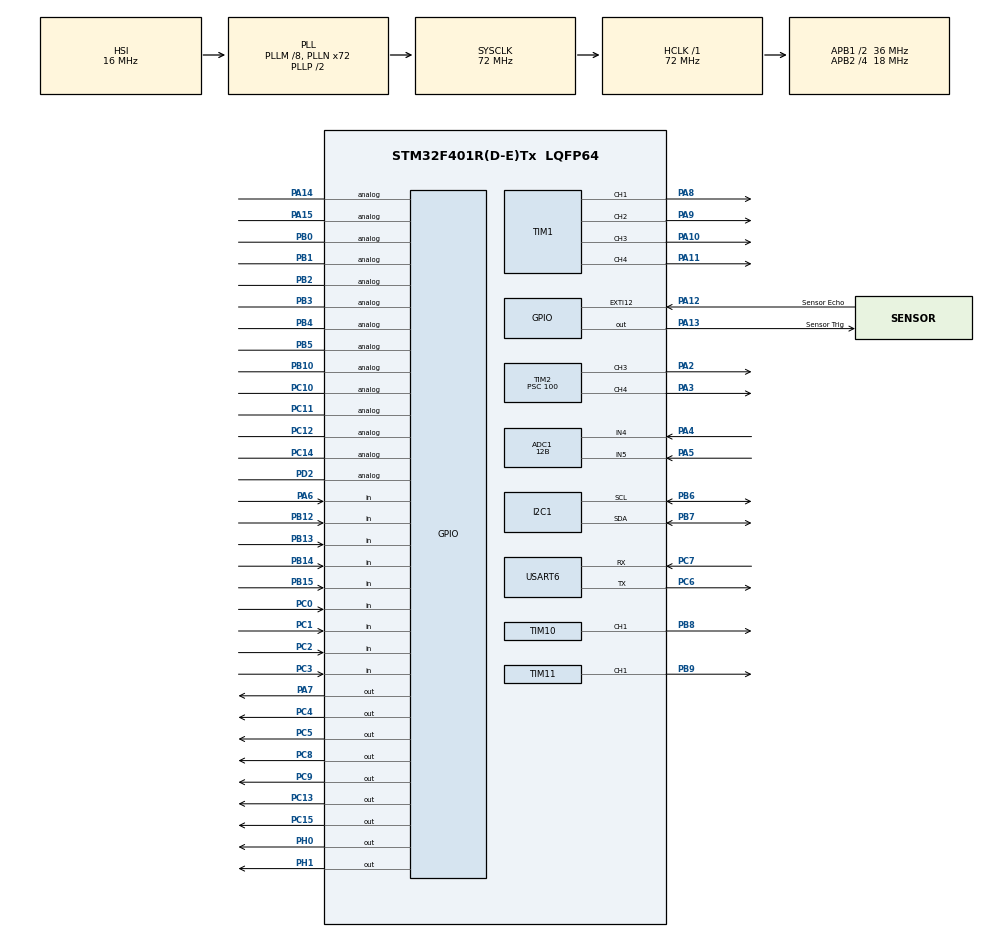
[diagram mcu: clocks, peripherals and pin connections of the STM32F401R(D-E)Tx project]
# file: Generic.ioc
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ADC1.Channel-0\#ChannelRegularConversion=ADC_CHANNEL_4
ADC1.ClockPrescaler=ADC_CLOCK_SYNC_PCLK_DIV4
ADC1.ContinuousConvMode=ENABLE
ADC1.EOCSelection=ADC_EOC_SEQ_CONV
ADC1.NbrOfConversionFlag=1
ADC1.Rank-0\#ChannelRegularConversion=1
ADC1.Resolution=ADC_RESOLUTION_12B
ADC1.SamplingTime-0\#ChannelRegularConversion=ADC_SAMPLETIME_3CYCLES
ADC1.master=1
Mcu.Family=STM32F4
Mcu.Name=STM32F401R(D-E)Tx
Mcu.Package=LQFP64
NVIC.EXTI15_10_IRQn=true\:0\:0\:true\:false\:true\:true
NVIC.PriorityGroup=NVIC_PRIORITYGROUP_4
PA10.GPIO_Speed=GPIO_SPEED_FREQ_HIGH
PA10.Signal=S_TIM1_CH3
PA11.GPIO_ModeDefaultPP=GPIO_MODE_AF_PP
PA11.GPIO_PuPd=GPIO_NOPULL
PA11.GPIO_Speed=GPIO_SPEED_FREQ_HIGH
PA11.Signal=S_TIM1_CH4
PA12.GPIO_Label=Sensor Echo
PA12.GPIO_ModeDefaultEXTI=GPIO_MODE_IT_RISING_FALLING
PA12.Signal=GPXTI12
PA13.GPIO_Label=Sensor Trig
PA13.GPIO_ModeDefaultOutputPP=GPIO_MODE_OUTPUT_OD
PA13.GPIO_Speed=GPIO_SPEED_FREQ_LOW
PA13.PinState=GPIO_PIN_SET
PA13.Signal=GPIO_Output
PA14.GPIO_PuPd=GPIO_NOPULL
PA14.Signal=GPIO_Analog
PA15.GPIO_PuPd=GPIO_NOPULL
PA15.Signal=GPIO_Analog
PA2.GPIO_Speed=GPIO_SPEED_FREQ_HIGH
PA2.Signal=S_TIM2_CH3
PA3.GPIO_Speed=GPIO_SPEED_FREQ_HIGH
PA3.Signal=S_TIM2_CH4
PA4.Signal=ADCx_IN4
PA5.Signal=ADCx_IN5
PA6.GPIO_Mode=GPIO_MODE_INPUT
PA6.GPIO_PuPd=GPIO_NOPULL
PA6.Signal=GPIO_Input
PA7.GPIO_Speed=GPIO_SPEED_FREQ_LOW
PA7.PinState=GPIO_PIN_RESET
PA7.Signal=GPIO_Output
PA8.GPIO_PuPd=GPIO_NOPULL
PA8.GPIO_Speed=GPIO_SPEED_FREQ_HIGH
PA8.Signal=S_TIM1_CH1
PA9.GPIO_Speed=GPIO_SPEED_FREQ_HIGH
PA9.Signal=S_TIM1_CH2
PB0.GPIO_PuPd=GPIO_NOPULL
PB0.Signal=GPIO_Analog
PB1.GPIO_PuPd=GPIO_NOPULL
PB1.Signal=GPIO_Analog
PB10.GPIO_PuPd=GPIO_NOPULL
PB10.Signal=GPIO_Analog
PB12.GPIO_PuPd=GPIO_NOPULL
PB12.Signal=GPIO_Input
PB13.GPIO_PuPd=GPIO_NOPULL
PB13.Signal=GPIO_Input
PB14.GPIO_PuPd=GPIO_NOPULL
PB14.Signal=GPIO_Input
PB15.GPIO_PuPd=GPIO_NOPULL
PB15.Signal=GPIO_Input
PB2.GPIO_PuPd=GPIO_NOPULL
PB2.Signal=GPIO_Analog
PB3.GPIO_PuPd=GPIO_NOPULL
PB3.Signal=GPIO_Analog
PB4.GPIO_PuPd=GPIO_NOPULL
PB4.Signal=GPIO_Analog
PB5.GPIO_PuPd=GPIO_NOPULL
PB5.Signal=GPIO_Analog
PB6.Mode=I2C
PB6.Signal=I2C1_SCL
PB7.Mode=I2C
PB7.Signal=I2C1_SDA
PB8.GPIO_Speed=GPIO_SPEED_FREQ_LOW
PB8.Signal=S_TIM10_CH1
PB9.GPIO_Speed=GPIO_SPEED_FREQ_HIGH
PB9.Signal=S_TIM11_CH1
PC0.GPIO_PuPd=GPIO_NOPULL
PC0.Signal=GPIO_Input
PC1.GPIO_PuPd=GPIO_NOPULL
PC1.Signal=GPIO_Input
PC10.GPIO_PuPd=GPIO_NOPULL
PC10.Signal=GPIO_Analog
PC11.GPIO_Mode=GPIO_MODE_ANALOG
PC11.GPIO_PuPd=GPIO_NOPULL
PC11.Signal=GPIO_Analog
PC12.GPIO_PuPd=GPIO_NOPULL
PC12.Signal=GPIO_Analog
PC13-ANTI_TAMP.GPIO_ModeDefaultOutputPP=GPIO_MODE_OUTPUT_PP
PC13-ANTI_TAMP.GPIO_PuPd=GPIO_NOPULL
PC13-ANTI_TAMP.GPIO_Speed=GPIO_SPEED_FREQ_LOW
PC13-ANTI_TAMP.PinState=GPIO_PIN_RESET
PC13-ANTI_TAMP.Signal=GPIO_Output
PC14-OSC32_IN.GPIO_PuPd=GPIO_NOPULL
PC14-OSC32_IN.Signal=GPIO_Analog
PC15-OSC32_OUT.GPIO_Speed=GPIO_SPEED_FREQ_LOW
PC15-OSC32_OUT.PinState=GPIO_PIN_RESET
PC15-OSC32_OUT.Signal=GPIO_Output
PC2.GPIO_PuPd=GPIO_NOPULL
PC2.Signal=GPIO_Input
PC3.GPIO_PuPd=GPIO_NOPULL
PC3.Signal=GPIO_Input
PC4.GPIO_Speed=GPIO_SPEED_FREQ_LOW
PC4.PinState=GPIO_PIN_RESET
PC4.Signal=GPIO_Output
PC5.GPIO_Speed=GPIO_SPEED_FREQ_LOW
PC5.PinState=GPIO_PIN_RESET
PC5.Signal=GPIO_Output
PC6.Mode=Asynchronous
PC6.Signal=USART6_TX
PC7.Mode=Asynchronous
PC7.Signal=USART6_RX
PC8.GPIO_Speed=GPIO_SPEED_FREQ_LOW
PC8.PinState=GPIO_PIN_RESET
PC8.Signal=GPIO_Output
PC9.GPIO_Speed=GPIO_SPEED_FREQ_LOW
PC9.PinState=GPIO_PIN_RESET
PC9.Signal=GPIO_Output
PD2.GPIO_PuPd=GPIO_NOPULL
PD2.Signal=GPIO_Analog
PH0\ -\ OSC_IN.GPIO_Speed=GPIO_SPEED_FREQ_LOW
PH0\ -\ OSC_IN.PinState=GPIO_PIN_RESET
PH0\ -\ OSC_IN.Signal=GPIO_Output
PH1\ -\ OSC_OUT.GPIO_Speed=GPIO_SPEED_FREQ_LOW
PH1\ -\ OSC_OUT.PinState=GPIO_PIN_RESET
PH1\ -\ OSC_OUT.Signal=GPIO_Output
ProjectManager.HeapSize=0x200
ProjectManager.StackSize=0x400
ProjectManager.TargetToolchain=Makefile
RCC.48MHZClocksFreq_Value=36000000
RCC.AHBFreq_Value=72000000
RCC.APB1CLKDivider=RCC_HCLK_DIV2
RCC.APB1Freq_Value=36000000
RCC.APB1TimFreq_Value=72000000
RCC.APB2CLKDivider=RCC_HCLK_DIV4
RCC.APB2Freq_Value=18000000
RCC.APB2TimFreq_Value=36000000
RCC.CortexFreq_Value=72000000
RCC.HCLKFreq_Value=72000000
RCC.HSE_VALUE=25000000
RCC.HSI_VALUE=16000000
RCC.LSE_VALUE=32768
RCC.PLLM=8
RCC.PLLN=72
RCC.SYSCLKFreq_VALUE=72000000
RCC.SYSCLKSource=RCC_SYSCLKSOURCE_PLLCLK
RCC.VCOOutputFreq_Value=144000000
SH.ADCx_IN4.0=ADC1_IN4,IN4
SH.ADCx_IN5.0=ADC1_IN5,IN5
SH.S_TIM10_CH1.0=TIM10_CH1,PWM Generation1 CH1
SH.S_TIM11_CH1.0=TIM11_CH1,PWM Generation1 CH1
SH.S_TIM1_CH1.0=TIM1_CH1,PWM Generation1 CH1
SH.S_TIM1_CH2.0=TIM1_CH2,PWM Generation2 CH2
SH.S_TIM1_CH3.0=TIM1_CH3,PWM Generation3 CH3
SH.S_TIM1_CH4.0=TIM1_CH4,PWM Generation4 CH4
SH.S_TIM2_CH3.0=TIM2_CH3,Output Compare3 CH3
SH.S_TIM2_CH4.0=TIM2_CH4,Output Compare4 CH4
TIM1.Channel-PWM\ Generation1\ CH1=TIM_CHANNEL_1
TIM1.Channel-PWM\ Generation2\ CH2=TIM_CHANNEL_2
TIM1.Channel-PWM\ Generation3\ CH3=TIM_CHANNEL_3
TIM1.Channel-PWM\ Generation4\ CH4=TIM_CHANNEL_4
TIM10.Channel=TIM_CHANNEL_1
TIM11.Channel=TIM_CHANNEL_1
TIM2.Channel-Output\ Compare1\ No\ Output=TIM_CHANNEL_1
TIM2.Channel-Output\ Compare2\ No\ Output=TIM_CHANNEL_2
TIM2.Channel-Output\ Compare3\ CH3=TIM_CHANNEL_3
TIM2.Channel-Output\ Compare4\ CH4=TIM_CHANNEL_4
TIM2.Period=4294967295
TIM2.Prescaler=100
USART6.VirtualMode=VM_ASYNC
VP_TIM10_VS_ClockSourceINT.Mode=Enable_Timer
VP_TIM11_VS_ClockSourceINT.Mode=Enable_Timer
VP_TIM1_VS_ClockSourceINT.Mode=Internal
VP_TIM2_VS_ClockSourceINT.Mode=Internal
VP_TIM2_VS_no_output1.Mode=Output Compare1 No Output
VP_TIM2_VS_no_output2.Mode=Output Compare2 No Output
VP_TIM3_VS_ClockSourceINT.Mode=Internal
board=custom

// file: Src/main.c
/**
  ******************************************************************************
  * @file           : main.c
  * @brief          : Main program body
  ******************************************************************************
  ** This notice applies to any and all portions of this file
  * that are not between comment pairs USER CODE BEGIN and
  * USER CODE END. Other portions of this file, whether
  * inserted by the user or by software development tools
  * are owned by their respective copyright owners.
  *
  * COPYRIGHT(c) 2018 STMicroelectronics
  *
  * Redistribution and use in source and binary forms, with or without modification,
  * are permitted provided that the following conditions are met:
  *   1. Redistributions of source code must retain the above copyright notice,
  *      this list of conditions and the following disclaimer.
  *   2. Redistributions in binary form must reproduce the above copyright notice,
  *      this list of conditions and the following disclaimer in the documentation
  *      and/or other materials provided with the distribution.
  *   3. Neither the name of STMicroelectronics nor the names of its contributors
  *      may be used to endorse or promote products derived from this software
  *      without specific prior written permission.
  *
  * THIS SOFTWARE IS PROVIDED BY THE COPYRIGHT HOLDERS AND CONTRIBUTORS "AS IS"
  * AND ANY EXPRESS OR IMPLIED WARRANTIES, INCLUDING, BUT NOT LIMITED TO, THE
  * IMPLIED WARRANTIES OF MERCHANTABILITY AND FITNESS FOR A PARTICULAR PURPOSE ARE
  * DISCLAIMED. IN NO EVENT SHALL THE COPYRIGHT HOLDER OR CONTRIBUTORS BE LIABLE
  * FOR ANY DIRECT, INDIRECT, INCIDENTAL, SPECIAL, EXEMPLARY, OR CONSEQUENTIAL
  * DAMAGES (INCLUDING, BUT NOT LIMITED TO, PROCUREMENT OF SUBSTITUTE GOODS OR
  * SERVICES; LOSS OF USE, DATA, OR PROFITS; OR BUSINESS INTERRUPTION) HOWEVER
  * CAUSED AND ON ANY THEORY OF LIABILITY, WHETHER IN CONTRACT, STRICT LIABILITY,
  * OR TORT (INCLUDING NEGLIGENCE OR OTHERWISE) ARISING IN ANY WAY OUT OF THE USE
  * OF THIS SOFTWARE, EVEN IF ADVISED OF THE POSSIBILITY OF SUCH DAMAGE.
  *
  ******************************************************************************
  */
#include "main.h"
#include "stm32f4xx_hal.h"
#include "stm32f4xx_it.h"

/* USER CODE BEGIN Includes */
#include "fonts.h"
#include "ssd1306.h"
/* USER CODE END Includes */

ADC_HandleTypeDef hadc1;

I2C_HandleTypeDef hi2c1;

TIM_HandleTypeDef htim1;
TIM_HandleTypeDef htim2;
TIM_HandleTypeDef htim3;
TIM_HandleTypeDef htim10;
TIM_HandleTypeDef htim11;

UART_HandleTypeDef huart6;

void SystemClock_Config(void);
static void MX_GPIO_Init(void);
static void MX_I2C1_Init(void);
static void MX_TIM1_Init(void);
static void MX_TIM2_Init(void);
static void MX_TIM3_Init(void);
static void MX_TIM10_Init(void);
static void MX_TIM11_Init(void);
static void MX_USART6_UART_Init(void);
static void MX_ADC1_Init(void);

void HAL_TIM_MspPostInit(TIM_HandleTypeDef *htim);

/* USER CODE BEGIN 0 */
uint32_t getUs(void)
{
  uint32_t usTicks = HAL_RCC_GetSysClockFreq() / 1000000;
  register uint32_t ms, cycle_cnt;
  do
  {
    ms = HAL_GetTick();
    cycle_cnt = SysTick->VAL;
  } while (ms != HAL_GetTick());
  return (ms * 1000) + (usTicks * 1000 - cycle_cnt) / usTicks;
}

void delayUs(uint16_t micros)
{
  uint32_t start = getUs();
  while (getUs() - start < (uint32_t)micros)
  {
    asm("nop");
  }
}
/* USER CODE END 0 */

int main(void)
{

  /* MCU Configuration----------------------------------------------------------*/

  /* Reset of all peripherals, Initializes the Flash interface and the Systick. */
  HAL_Init();

  /* Configure the system clock */
  SystemClock_Config();

  /* Initialize all configured peripherals */
  MX_GPIO_Init();
  MX_I2C1_Init();
  MX_TIM1_Init();
  MX_TIM2_Init();
  MX_TIM3_Init();
  MX_TIM10_Init();
  MX_TIM11_Init();
  MX_USART6_UART_Init();
  MX_ADC1_Init();
  /* USER CODE BEGIN 2 */
  ssd1306_Init();
  HAL_Delay(1000);
  ssd1306_Fill(Black);
  ssd1306_WriteString("Hola Boyo", Font_11x18, White);
  ssd1306_UpdateScreen();
  HAL_GPIO_WritePin(GPIOA, GPIO_PIN_13, GPIO_PIN_RESET);
  /* USER CODE END 2 */

  /* Infinite loop */
  /* USER CODE BEGIN WHILE */
  char *adc = (char *)malloc(13 * sizeof(char));

  while (1)
  {
    HAL_GPIO_TogglePin(GPIOA, GPIO_PIN_13);
    delayUs(15); //delay 15ms
    HAL_GPIO_TogglePin(GPIOA, GPIO_PIN_13);
    HAL_Delay(60);
    ssd1306_SetCursor(0, 0);
    sprintf(adc, "val: %d    ", (int)sonarVal);
    ssd1306_WriteString(adc, Font_11x18, White);
    ssd1306_UpdateScreen();
  }
  /* USER CODE END WHILE */

}

void SystemClock_Config(void)
{

  RCC_OscInitTypeDef RCC_OscInitStruct;
  RCC_ClkInitTypeDef RCC_ClkInitStruct;

    /**Configure the main internal regulator output voltage
    */
  __HAL_RCC_PWR_CLK_ENABLE();

  __HAL_PWR_VOLTAGESCALING_CONFIG(PWR_REGULATOR_VOLTAGE_SCALE2);

    /**Initializes the CPU, AHB and APB busses clocks
    */
  RCC_OscInitStruct.OscillatorType = RCC_OSCILLATORTYPE_HSI;
  RCC_OscInitStruct.HSIState = RCC_HSI_ON;
  RCC_OscInitStruct.HSICalibrationValue = 16;
  RCC_OscInitStruct.PLL.PLLState = RCC_PLL_ON;
  RCC_OscInitStruct.PLL.PLLSource = RCC_PLLSOURCE_HSI;
  RCC_OscInitStruct.PLL.PLLM = 8;
  RCC_OscInitStruct.PLL.PLLN = 72;
  RCC_OscInitStruct.PLL.PLLP = RCC_PLLP_DIV2;
  RCC_OscInitStruct.PLL.PLLQ = 4;
  if (HAL_RCC_OscConfig(&RCC_OscInitStruct) != HAL_OK)
  {
    _Error_Handler(__FILE__, __LINE__);
  }

    /**Initializes the CPU, AHB and APB busses clocks
    */
  RCC_ClkInitStruct.ClockType = RCC_CLOCKTYPE_HCLK|RCC_CLOCKTYPE_SYSCLK
                              |RCC_CLOCKTYPE_PCLK1|RCC_CLOCKTYPE_PCLK2;
  RCC_ClkInitStruct.SYSCLKSource = RCC_SYSCLKSOURCE_PLLCLK;
  RCC_ClkInitStruct.AHBCLKDivider = RCC_SYSCLK_DIV1;
  RCC_ClkInitStruct.APB1CLKDivider = RCC_HCLK_DIV2;
  RCC_ClkInitStruct.APB2CLKDivider = RCC_HCLK_DIV4;

  if (HAL_RCC_ClockConfig(&RCC_ClkInitStruct, FLASH_LATENCY_2) != HAL_OK)
  {
    _Error_Handler(__FILE__, __LINE__);
  }

    /**Configure the Systick interrupt time
    */
  HAL_SYSTICK_Config(HAL_RCC_GetHCLKFreq()/1000);

    /**Configure the Systick
    */
  HAL_SYSTICK_CLKSourceConfig(SYSTICK_CLKSOURCE_HCLK);

  /* SysTick_IRQn interrupt configuration */
  HAL_NVIC_SetPriority(SysTick_IRQn, 0, 0);
}

/* ADC1 init function */
static void MX_ADC1_Init(void)
{

  ADC_ChannelConfTypeDef sConfig;

    /**Configure the global features of the ADC (Clock, Resolution, Data Alignment and number of conversion)
    */
  hadc1.Instance = ADC1;
  hadc1.Init.ClockPrescaler = ADC_CLOCK_SYNC_PCLK_DIV4;
  hadc1.Init.Resolution = ADC_RESOLUTION_12B;
  hadc1.Init.ScanConvMode = DISABLE;
  hadc1.Init.ContinuousConvMode = ENABLE;
  hadc1.Init.DiscontinuousConvMode = DISABLE;
  hadc1.Init.ExternalTrigConvEdge = ADC_EXTERNALTRIGCONVEDGE_NONE;
  hadc1.Init.ExternalTrigConv = ADC_SOFTWARE_START;
  hadc1.Init.DataAlign = ADC_DATAALIGN_RIGHT;
  hadc1.Init.NbrOfConversion = 1;
  hadc1.Init.DMAContinuousRequests = DISABLE;
  hadc1.Init.EOCSelection = ADC_EOC_SEQ_CONV;
  if (HAL_ADC_Init(&hadc1) != HAL_OK)
  {
    _Error_Handler(__FILE__, __LINE__);
  }

    /**Configure for the selected ADC regular channel its corresponding rank in the sequencer and its sample time.
    */
  sConfig.Channel = ADC_CHANNEL_4;
  sConfig.Rank = 1;
  sConfig.SamplingTime = ADC_SAMPLETIME_3CYCLES;
  if (HAL_ADC_ConfigChannel(&hadc1, &sConfig) != HAL_OK)
  {
    _Error_Handler(__FILE__, __LINE__);
  }

}

/* I2C1 init function */
static void MX_I2C1_Init(void)
{

  hi2c1.Instance = I2C1;
  hi2c1.Init.ClockSpeed = 100000;
  hi2c1.Init.DutyCycle = I2C_DUTYCYCLE_2;
  hi2c1.Init.OwnAddress1 = 0;
  hi2c1.Init.AddressingMode = I2C_ADDRESSINGMODE_7BIT;
  hi2c1.Init.DualAddressMode = I2C_DUALADDRESS_DISABLE;
  hi2c1.Init.OwnAddress2 = 0;
  hi2c1.Init.GeneralCallMode = I2C_GENERALCALL_DISABLE;
  hi2c1.Init.NoStretchMode = I2C_NOSTRETCH_DISABLE;
  if (HAL_I2C_Init(&hi2c1) != HAL_OK)
  {
    _Error_Handler(__FILE__, __LINE__);
  }

}

/* TIM1 init function */
static void MX_TIM1_Init(void)
{

  TIM_ClockConfigTypeDef sClockSourceConfig;
  TIM_MasterConfigTypeDef sMasterConfig;
  TIM_OC_InitTypeDef sConfigOC;
  TIM_BreakDeadTimeConfigTypeDef sBreakDeadTimeConfig;

  htim1.Instance = TIM1;
  htim1.Init.Prescaler = 0;
  htim1.Init.CounterMode = TIM_COUNTERMODE_UP;
  htim1.Init.Period = 0;
  htim1.Init.ClockDivision = TIM_CLOCKDIVISION_DIV1;
  htim1.Init.RepetitionCounter = 0;
  if (HAL_TIM_Base_Init(&htim1) != HAL_OK)
  {
    _Error_Handler(__FILE__, __LINE__);
  }

  sClockSourceConfig.ClockSource = TIM_CLOCKSOURCE_INTERNAL;
  if (HAL_TIM_ConfigClockSource(&htim1, &sClockSourceConfig) != HAL_OK)
  {
    _Error_Handler(__FILE__, __LINE__);
  }

  if (HAL_TIM_PWM_Init(&htim1) != HAL_OK)
  {
    _Error_Handler(__FILE__, __LINE__);
  }

  sMasterConfig.MasterOutputTrigger = TIM_TRGO_RESET;
  sMasterConfig.MasterSlaveMode = TIM_MASTERSLAVEMODE_DISABLE;
  if (HAL_TIMEx_MasterConfigSynchronization(&htim1, &sMasterConfig) != HAL_OK)
  {
    _Error_Handler(__FILE__, __LINE__);
  }

  sConfigOC.OCMode = TIM_OCMODE_PWM1;
  sConfigOC.Pulse = 0;
  sConfigOC.OCPolarity = TIM_OCPOLARITY_HIGH;
  sConfigOC.OCNPolarity = TIM_OCNPOLARITY_HIGH;
  sConfigOC.OCFastMode = TIM_OCFAST_DISABLE;
  sConfigOC.OCIdleState = TIM_OCIDLESTATE_RESET;
  sConfigOC.OCNIdleState = TIM_OCNIDLESTATE_RESET;
  if (HAL_TIM_PWM_ConfigChannel(&htim1, &sConfigOC, TIM_CHANNEL_1) != HAL_OK)
  {
    _Error_Handler(__FILE__, __LINE__);
  }

  if (HAL_TIM_PWM_ConfigChannel(&htim1, &sConfigOC, TIM_CHANNEL_2) != HAL_OK)
  {
    _Error_Handler(__FILE__, __LINE__);
  }

  if (HAL_TIM_PWM_ConfigChannel(&htim1, &sConfigOC, TIM_CHANNEL_3) != HAL_OK)
  {
    _Error_Handler(__FILE__, __LINE__);
  }

  if (HAL_TIM_PWM_ConfigChannel(&htim1, &sConfigOC, TIM_CHANNEL_4) != HAL_OK)
  {
    _Error_Handler(__FILE__, __LINE__);
  }

  sBreakDeadTimeConfig.OffStateRunMode = TIM_OSSR_DISABLE;
  sBreakDeadTimeConfig.OffStateIDLEMode = TIM_OSSI_DISABLE;
  sBreakDeadTimeConfig.LockLevel = TIM_LOCKLEVEL_OFF;
  sBreakDeadTimeConfig.DeadTime = 0;
  sBreakDeadTimeConfig.BreakState = TIM_BREAK_DISABLE;
  sBreakDeadTimeConfig.BreakPolarity = TIM_BREAKPOLARITY_HIGH;
  sBreakDeadTimeConfig.AutomaticOutput = TIM_AUTOMATICOUTPUT_DISABLE;
  if (HAL_TIMEx_ConfigBreakDeadTime(&htim1, &sBreakDeadTimeConfig) != HAL_OK)
  {
    _Error_Handler(__FILE__, __LINE__);
  }

  HAL_TIM_MspPostInit(&htim1);

}

/* TIM2 init function */
static void MX_TIM2_Init(void)
{

  TIM_ClockConfigTypeDef sClockSourceConfig;
  TIM_MasterConfigTypeDef sMasterConfig;
  TIM_OC_InitTypeDef sConfigOC;

  htim2.Instance = TIM2;
  htim2.Init.Prescaler = 100;
  htim2.Init.CounterMode = TIM_COUNTERMODE_UP;
  htim2.Init.Period = 429496729;
  htim2.Init.ClockDivision = TIM_CLOCKDIVISION_DIV1;
  if (HAL_TIM_Base_Init(&htim2) != HAL_OK)
  {
    _Error_Handler(__FILE__, __LINE__);
  }

  sClockSourceConfig.ClockSource = TIM_CLOCKSOURCE_INTERNAL;
  if (HAL_TIM_ConfigClockSource(&htim2, &sClockSourceConfig) != HAL_OK)
  {
    _Error_Handler(__FILE__, __LINE__);
  }

  if (HAL_TIM_OC_Init(&htim2) != HAL_OK)
  {
    _Error_Handler(__FILE__, __LINE__);
  }

  sMasterConfig.MasterOutputTrigger = TIM_TRGO_RESET;
  sMasterConfig.MasterSlaveMode = TIM_MASTERSLAVEMODE_DISABLE;
  if (HAL_TIMEx_MasterConfigSynchronization(&htim2, &sMasterConfig) != HAL_OK)
  {
    _Error_Handler(__FILE__, __LINE__);
  }

  sConfigOC.OCMode = TIM_OCMODE_TIMING;
  sConfigOC.Pulse = 0;
  sConfigOC.OCPolarity = TIM_OCPOLARITY_HIGH;
  sConfigOC.OCFastMode = TIM_OCFAST_DISABLE;
  if (HAL_TIM_OC_ConfigChannel(&htim2, &sConfigOC, TIM_CHANNEL_1) != HAL_OK)
  {
    _Error_Handler(__FILE__, __LINE__);
  }

  if (HAL_TIM_OC_ConfigChannel(&htim2, &sConfigOC, TIM_CHANNEL_2) != HAL_OK)
  {
    _Error_Handler(__FILE__, __LINE__);
  }

  if (HAL_TIM_OC_ConfigChannel(&htim2, &sConfigOC, TIM_CHANNEL_3) != HAL_OK)
  {
    _Error_Handler(__FILE__, __LINE__);
  }

  if (HAL_TIM_OC_ConfigChannel(&htim2, &sConfigOC, TIM_CHANNEL_4) != HAL_OK)
  {
    _Error_Handler(__FILE__, __LINE__);
  }

  HAL_TIM_MspPostInit(&htim2);

}

/* TIM3 init function */
static void MX_TIM3_Init(void)
{

  TIM_ClockConfigTypeDef sClockSourceConfig;
  TIM_MasterConfigTypeDef sMasterConfig;

  htim3.Instance = TIM3;
  htim3.Init.Prescaler = 0;
  htim3.Init.CounterMode = TIM_COUNTERMODE_UP;
  htim3.Init.Period = 0;
  htim3.Init.ClockDivision = TIM_CLOCKDIVISION_DIV1;
  if (HAL_TIM_Base_Init(&htim3) != HAL_OK)
  {
    _Error_Handler(__FILE__, __LINE__);
  }

  sClockSourceConfig.ClockSource = TIM_CLOCKSOURCE_INTERNAL;
  if (HAL_TIM_ConfigClockSource(&htim3, &sClockSourceConfig) != HAL_OK)
  {
    _Error_Handler(__FILE__, __LINE__);
  }

  sMasterConfig.MasterOutputTrigger = TIM_TRGO_RESET;
  sMasterConfig.MasterSlaveMode = TIM_MASTERSLAVEMODE_DISABLE;
  if (HAL_TIMEx_MasterConfigSynchronization(&htim3, &sMasterConfig) != HAL_OK)
  {
    _Error_Handler(__FILE__, __LINE__);
  }

}

/* TIM10 init function */
static void MX_TIM10_Init(void)
{

  TIM_OC_InitTypeDef sConfigOC;

  htim10.Instance = TIM10;
  htim10.Init.Prescaler = 0;
  htim10.Init.CounterMode = TIM_COUNTERMODE_UP;
  htim10.Init.Period = 0;
  htim10.Init.ClockDivision = TIM_CLOCKDIVISION_DIV1;
  if (HAL_TIM_Base_Init(&htim10) != HAL_OK)
  {
    _Error_Handler(__FILE__, __LINE__);
  }

  if (HAL_TIM_PWM_Init(&htim10) != HAL_OK)
  {
    _Error_Handler(__FILE__, __LINE__);
  }

  sConfigOC.OCMode = TIM_OCMODE_PWM1;
  sConfigOC.Pulse = 0;
  sConfigOC.OCPolarity = TIM_OCPOLARITY_HIGH;
  sConfigOC.OCFastMode = TIM_OCFAST_DISABLE;
  if (HAL_TIM_PWM_ConfigChannel(&htim10, &sConfigOC, TIM_CHANNEL_1) != HAL_OK)
  {
    _Error_Handler(__FILE__, __LINE__);
  }

  HAL_TIM_MspPostInit(&htim10);

}

/* TIM11 init function */
static void MX_TIM11_Init(void)
{

  TIM_OC_InitTypeDef sConfigOC;

  htim11.Instance = TIM11;
  htim11.Init.Prescaler = 0;
  htim11.Init.CounterMode = TIM_COUNTERMODE_UP;
  htim11.Init.Period = 0;
  htim11.Init.ClockDivision = TIM_CLOCKDIVISION_DIV1;
  if (HAL_TIM_Base_Init(&htim11) != HAL_OK)
  {
    _Error_Handler(__FILE__, __LINE__);
  }

  if (HAL_TIM_PWM_Init(&htim11) != HAL_OK)
  {
    _Error_Handler(__FILE__, __LINE__);
  }

  sConfigOC.OCMode = TIM_OCMODE_PWM1;
  sConfigOC.Pulse = 0;
  sConfigOC.OCPolarity = TIM_OCPOLARITY_HIGH;
  sConfigOC.OCFastMode = TIM_OCFAST_DISABLE;
  if (HAL_TIM_PWM_ConfigChannel(&htim11, &sConfigOC, TIM_CHANNEL_1) != HAL_OK)
  {
    _Error_Handler(__FILE__, __LINE__);
  }

  HAL_TIM_MspPostInit(&htim11);

}

/* USART6 init function */
static void MX_USART6_UART_Init(void)
{

  huart6.Instance = USART6;
  huart6.Init.BaudRate = 115200;
  huart6.Init.WordLength = UART_WORDLENGTH_8B;
  huart6.Init.StopBits = UART_STOPBITS_1;
  huart6.Init.Parity = UART_PARITY_NONE;
  huart6.Init.Mode = UART_MODE_TX_RX;
  huart6.Init.HwFlowCtl = UART_HWCONTROL_NONE;
  huart6.Init.OverSampling = UART_OVERSAMPLING_16;
  if (HAL_UART_Init(&huart6) != HAL_OK)
  {
    _Error_Handler(__FILE__, __LINE__);
  }

}

/** Configure pins as
        * Analog
        * Input
        * Output
        * EVENT_OUT
        * EXTI
*/
static void MX_GPIO_Init(void)
{

  GPIO_InitTypeDef GPIO_InitStruct;

  /* GPIO Ports Clock Enable */
  __HAL_RCC_GPIOC_CLK_ENABLE();
  __HAL_RCC_GPIOH_CLK_ENABLE();
  __HAL_RCC_GPIOA_CLK_ENABLE();
  __HAL_RCC_GPIOB_CLK_ENABLE();
  __HAL_RCC_GPIOD_CLK_ENABLE();

  /*Configure GPIO pin Output Level */
  HAL_GPIO_WritePin(GPIOC, GPIO_PIN_13|GPIO_PIN_15|GPIO_PIN_4|GPIO_PIN_5
                          |GPIO_PIN_8|GPIO_PIN_9, GPIO_PIN_RESET);

  /*Configure GPIO pin Output Level */
  HAL_GPIO_WritePin(GPIOH, GPIO_PIN_0|GPIO_PIN_1, GPIO_PIN_RESET);

  /*Configure GPIO pin Output Level */
  HAL_GPIO_WritePin(GPIOA, GPIO_PIN_7, GPIO_PIN_RESET);

  /*Configure GPIO pin Output Level */
  HAL_GPIO_WritePin(Sensor_Trig_GPIO_Port, Sensor_Trig_Pin, GPIO_PIN_SET);

  /*Configure GPIO pins : PC13 PC15 PC4 PC5
                           PC8 PC9 */
  GPIO_InitStruct.Pin = GPIO_PIN_13|GPIO_PIN_15|GPIO_PIN_4|GPIO_PIN_5
                          |GPIO_PIN_8|GPIO_PIN_9;
  GPIO_InitStruct.Mode = GPIO_MODE_OUTPUT_PP;
  GPIO_InitStruct.Pull = GPIO_NOPULL;
  GPIO_InitStruct.Speed = GPIO_SPEED_FREQ_LOW;
  HAL_GPIO_Init(GPIOC, &GPIO_InitStruct);

  /*Configure GPIO pins : PC14 PC10 PC11 PC12 */
  GPIO_InitStruct.Pin = GPIO_PIN_14|GPIO_PIN_10|GPIO_PIN_11|GPIO_PIN_12;
  GPIO_InitStruct.Mode = GPIO_MODE_ANALOG;
  GPIO_InitStruct.Pull = GPIO_NOPULL;
  HAL_GPIO_Init(GPIOC, &GPIO_InitStruct);

  /*Configure GPIO pins : PH0 PH1 */
  GPIO_InitStruct.Pin = GPIO_PIN_0|GPIO_PIN_1;
  GPIO_InitStruct.Mode = GPIO_MODE_OUTPUT_PP;
  GPIO_InitStruct.Pull = GPIO_NOPULL;
  GPIO_InitStruct.Speed = GPIO_SPEED_FREQ_LOW;
  HAL_GPIO_Init(GPIOH, &GPIO_InitStruct);

  /*Configure GPIO pins : PC0 PC1 PC2 PC3 */
  GPIO_InitStruct.Pin = GPIO_PIN_0|GPIO_PIN_1|GPIO_PIN_2|GPIO_PIN_3;
  GPIO_InitStruct.Mode = GPIO_MODE_INPUT;
  GPIO_InitStruct.Pull = GPIO_NOPULL;
  HAL_GPIO_Init(GPIOC, &GPIO_InitStruct);

  /*Configure GPIO pin : PA6 */
  GPIO_InitStruct.Pin = GPIO_PIN_6;
  GPIO_InitStruct.Mode = GPIO_MODE_INPUT;
  GPIO_InitStruct.Pull = GPIO_NOPULL;
  HAL_GPIO_Init(GPIOA, &GPIO_InitStruct);

  /*Configure GPIO pin : PA7 */
  GPIO_InitStruct.Pin = GPIO_PIN_7;
  GPIO_InitStruct.Mode = GPIO_MODE_OUTPUT_PP;
  GPIO_InitStruct.Pull = GPIO_NOPULL;
  GPIO_InitStruct.Speed = GPIO_SPEED_FREQ_LOW;
  HAL_GPIO_Init(GPIOA, &GPIO_InitStruct);

  /*Configure GPIO pins : PB0 PB1 PB2 PB10
                           PB3 PB4 PB5 */
  GPIO_InitStruct.Pin = GPIO_PIN_0|GPIO_PIN_1|GPIO_PIN_2|GPIO_PIN_10
                          |GPIO_PIN_3|GPIO_PIN_4|GPIO_PIN_5;
  GPIO_InitStruct.Mode = GPIO_MODE_ANALOG;
  GPIO_InitStruct.Pull = GPIO_NOPULL;
  HAL_GPIO_Init(GPIOB, &GPIO_InitStruct);

  /*Configure GPIO pins : PB12 PB13 PB14 PB15 */
  GPIO_InitStruct.Pin = GPIO_PIN_12|GPIO_PIN_13|GPIO_PIN_14|GPIO_PIN_15;
  GPIO_InitStruct.Mode = GPIO_MODE_INPUT;
  GPIO_InitStruct.Pull = GPIO_NOPULL;
  HAL_GPIO_Init(GPIOB, &GPIO_InitStruct);

  /*Configure GPIO pin : PA12 */
  GPIO_InitStruct.Pin = GPIO_PIN_12;
  GPIO_InitStruct.Mode = GPIO_MODE_IT_RISING_FALLING;
  GPIO_InitStruct.Pull = GPIO_NOPULL;
  HAL_GPIO_Init(GPIOA, &GPIO_InitStruct);

  /*Configure GPIO pin : Sensor_Trig_Pin */
  GPIO_InitStruct.Pin = Sensor_Trig_Pin;
  GPIO_InitStruct.Mode = GPIO_MODE_OUTPUT_OD;
  GPIO_InitStruct.Pull = GPIO_NOPULL;
  GPIO_InitStruct.Speed = GPIO_SPEED_FREQ_LOW;
  HAL_GPIO_Init(Sensor_Trig_GPIO_Port, &GPIO_InitStruct);

  /*Configure GPIO pins : PA14 PA15 */
  GPIO_InitStruct.Pin = GPIO_PIN_14|GPIO_PIN_15;
  GPIO_InitStruct.Mode = GPIO_MODE_ANALOG;
  GPIO_InitStruct.Pull = GPIO_NOPULL;
  HAL_GPIO_Init(GPIOA, &GPIO_InitStruct);

  /*Configure GPIO pin : PD2 */
  GPIO_InitStruct.Pin = GPIO_PIN_2;
  GPIO_InitStruct.Mode = GPIO_MODE_ANALOG;
  GPIO_InitStruct.Pull = GPIO_NOPULL;
  HAL_GPIO_Init(GPIOD, &GPIO_InitStruct);

  /* EXTI interrupt init*/
  HAL_NVIC_SetPriority(EXTI15_10_IRQn, 0, 0);
  HAL_NVIC_EnableIRQ(EXTI15_10_IRQn);

}

void _Error_Handler(char *file, int line)
{
}

/************************ (C) COPYRIGHT STMicroelectronics *****END OF FILE****/
